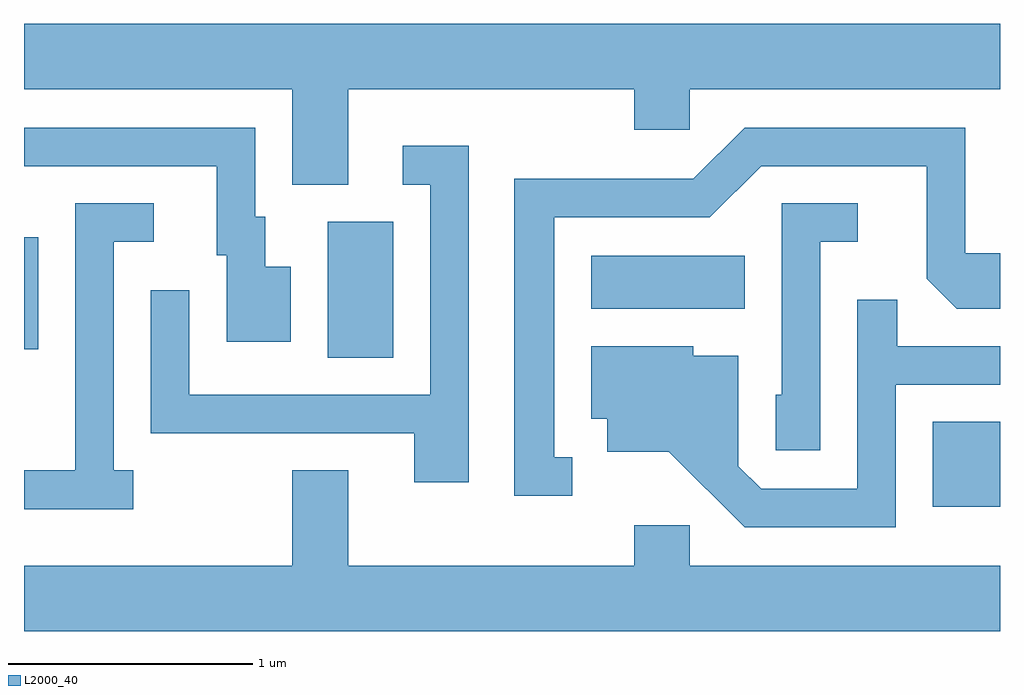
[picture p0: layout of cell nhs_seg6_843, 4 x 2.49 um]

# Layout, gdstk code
import gdstk
lib = gdstk.Library(unit=1e-6, precision=1e-09)
def R(c, l, rs):  # rectangles x0, y0, x1, y1
    for r in rs: c.add(gdstk.rectangle(r[:2], r[2:], *l))
def P(c, l, *ps):  # polygons
    for p in ps: c.add(gdstk.Polygon(p, *l))
L2000_40 = (2000, 40)

nhs_seg6_843 = lib.new_cell('nhs_seg6_843')
R(nhs_seg6_843, L2000_40, [(213.336,1612.706,213.611,1613.054), (210.856,1613.316,211.124,1613.874), (209.611,1613.351,209.669,1613.809), (211.936,1613.516,212.564,1613.734)])
P(nhs_seg6_843, L2000_40, [(210.939,1614.416),(212.111,1614.416),(212.111,1614.251),(212.339,1614.251),(212.339,1614.416),(213.611,1614.416),(213.611,1614.684),(209.611,1614.684),(209.611,1614.416),(210.711,1614.416),(210.711,1614.026),(210.939,1614.026)],
  [(211.858,1612.909),(211.784,1612.909),(211.784,1613.891),(212.422,1613.891),(212.632,1614.101),(213.311,1614.101),(213.311,1613.639),(213.434,1613.516),(213.611,1613.516),(213.611,1613.744),(213.469,1613.744),(213.469,1614.259),(212.564,1614.259),(212.354,1614.049),(211.621,1614.049),(211.621,1612.751),(211.858,1612.751)],
  [(210.704,1613.689),(210.599,1613.689),(210.599,1613.894),(210.559,1613.894),(210.559,1614.259),(209.611,1614.259),(209.611,1614.101),(210.401,1614.101),(210.401,1613.736),(210.441,1613.736),(210.441,1613.381),(210.704,1613.381)],
  [(211.434,1614.184),(211.163,1614.184),(211.163,1614.026),(211.276,1614.026),(211.276,1613.164),(210.289,1613.164),(210.289,1613.593),(210.131,1613.593),(210.131,1613.006),(211.211,1613.006),(211.211,1612.806),(211.434,1612.806)],
  [(210.058,1612.854),(209.979,1612.854),(209.979,1613.791),(210.143,1613.791),(210.143,1613.949),(209.821,1613.949),(209.821,1612.854),(209.611,1612.854),(209.611,1612.696),(210.058,1612.696)],
  [(212.874,1613.791),(213.028,1613.791),(213.028,1613.949),(212.716,1613.949),(212.716,1613.164),(212.691,1613.164),(212.691,1612.936),(212.874,1612.936)],
  [(213.184,1613.206),(213.611,1613.206),(213.611,1613.364),(213.189,1613.364),(213.189,1613.553),(213.026,1613.553),(213.026,1612.779),(212.632,1612.779),(212.539,1612.872),(212.539,1613.324),(212.354,1613.324),(212.354,1613.364),(211.936,1613.364),(211.936,1613.066),(212.001,1613.066),(212.001,1612.931),(212.254,1612.931),(212.564,1612.621),(213.184,1612.621)],
  [(213.611,1612.464),(212.339,1612.464),(212.339,1612.629),(212.111,1612.629),(212.111,1612.464),(210.939,1612.464),(210.939,1612.854),(210.711,1612.854),(210.711,1612.464),(209.611,1612.464),(209.611,1612.196),(213.611,1612.196)])

lib.write_gds('nhs_seg6_843.gds')
